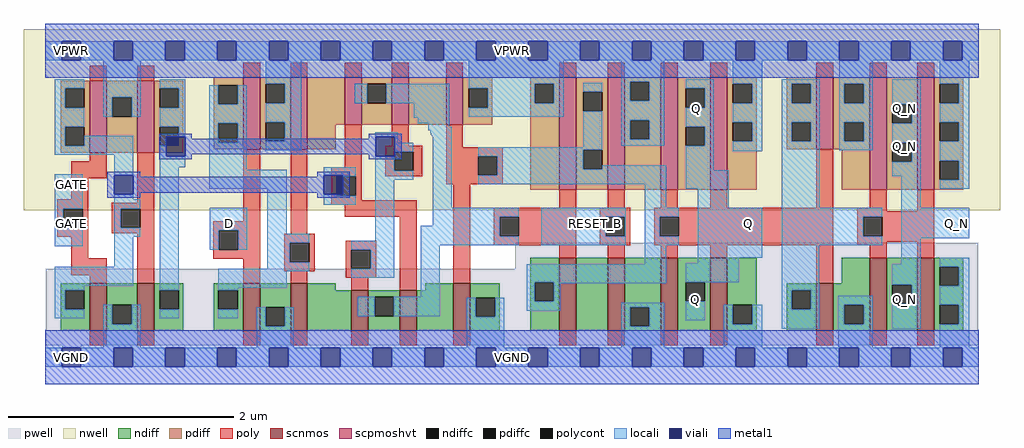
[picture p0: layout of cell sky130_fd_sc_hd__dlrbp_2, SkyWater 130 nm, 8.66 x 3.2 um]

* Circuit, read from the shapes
.subckt sky130_fd_sc_hd__dlrbp_2 D GATE RESET_B VGND VNB VPB VPWR Q Q_N
XM1 VGND GATE n1 VNB sky130_fd_pr__nfet_01v8 w=0.42 l=0.15
XM2 n2 n1 VGND VNB sky130_fd_pr__nfet_01v8 w=0.42 l=0.15
XM3 VGND D n3 VNB sky130_fd_pr__nfet_01v8 w=0.42 l=0.15
XM4 n4 n3 VGND VNB sky130_fd_pr__nfet_01v8 w=0.42 l=0.15
XM5 n5 n2 n4 VNB sky130_fd_pr__nfet_01v8 w=0.36 l=0.15
XM6 n6 n1 n5 VNB sky130_fd_pr__nfet_01v8 w=0.36 l=0.15
XM7 VGND n7 n6 VNB sky130_fd_pr__nfet_01v8 w=0.42 l=0.15
XM8 n8 n5 n7 VNB sky130_fd_pr__nfet_01v8 w=0.65 l=0.15
XM9 VGND RESET_B n8 VNB sky130_fd_pr__nfet_01v8 w=0.65 l=0.15
XM10 Q n7 VGND VNB sky130_fd_pr__nfet_01v8 w=0.65 l=0.15 m=2
XM11 VGND n7 n9 VNB sky130_fd_pr__nfet_01v8 w=0.42 l=0.15
XM12 Q_N n9 VGND VNB sky130_fd_pr__nfet_01v8 w=0.65 l=0.15 m=2
XM13 VPWR GATE n1 VPB sky130_fd_pr__pfet_01v8_hvt w=0.64 l=0.15
XM14 n2 n1 VPWR VPB sky130_fd_pr__pfet_01v8_hvt w=0.64 l=0.15
XM15 VPWR D n3 VPB sky130_fd_pr__pfet_01v8_hvt w=0.64 l=0.15
XM16 n10 n3 VPWR VPB sky130_fd_pr__pfet_01v8_hvt w=0.64 l=0.15
XM17 n5 n1 n10 VPB sky130_fd_pr__pfet_01v8_hvt w=0.42 l=0.15
XM18 n11 n2 n5 VPB sky130_fd_pr__pfet_01v8_hvt w=0.42 l=0.15
XM19 VPWR n7 n11 VPB sky130_fd_pr__pfet_01v8_hvt w=0.42 l=0.15
XM20 n7 n5 VPWR VPB sky130_fd_pr__pfet_01v8_hvt w=1 l=0.15
XM21 VPWR RESET_B n7 VPB sky130_fd_pr__pfet_01v8_hvt w=1 l=0.15
XM22 Q n7 VPWR VPB sky130_fd_pr__pfet_01v8_hvt w=1 l=0.15 m=2
XM23 VPWR n7 n9 VPB sky130_fd_pr__pfet_01v8_hvt w=0.64 l=0.15
XM24 Q_N n9 VPWR VPB sky130_fd_pr__pfet_01v8_hvt w=1 l=0.15 m=2
.ends

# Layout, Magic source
magic
tech sky130B
magscale 1 2
<< nwell >>
rect -38 261 1694 582
<< pwell >>
rect 834 157 1655 203
rect 1 21 1655 157
rect 30 -17 64 21
<< scnmos >>
rect 79 47 109 131
rect 163 47 193 131
rect 351 47 381 131
rect 435 47 465 131
rect 543 47 573 119
rect 629 47 659 119
rect 724 47 754 131
rect 912 47 942 177
rect 998 47 1028 177
rect 1092 47 1122 177
rect 1180 47 1210 177
rect 1368 47 1398 131
rect 1463 47 1493 177
rect 1547 47 1577 177
<< scpmoshvt >>
rect 79 363 109 491
rect 163 363 193 491
rect 351 369 381 497
rect 435 369 465 497
rect 531 413 561 497
rect 615 413 645 497
rect 711 413 741 497
rect 912 297 942 497
rect 998 297 1028 497
rect 1092 297 1122 497
rect 1180 297 1210 497
rect 1368 369 1398 497
rect 1463 297 1493 497
rect 1547 297 1577 497
<< ndiff >>
rect 27 119 79 131
rect 27 85 35 119
rect 69 85 79 119
rect 27 47 79 85
rect 109 93 163 131
rect 109 59 119 93
rect 153 59 163 93
rect 109 47 163 59
rect 193 119 245 131
rect 193 85 203 119
rect 237 85 245 119
rect 193 47 245 85
rect 299 119 351 131
rect 299 85 307 119
rect 341 85 351 119
rect 299 47 351 85
rect 381 89 435 131
rect 381 55 391 89
rect 425 55 435 89
rect 381 47 435 55
rect 465 119 515 131
rect 860 133 912 177
rect 674 119 724 131
rect 465 47 543 119
rect 573 107 629 119
rect 573 73 584 107
rect 618 73 629 107
rect 573 47 629 73
rect 659 47 724 119
rect 754 106 806 131
rect 754 72 764 106
rect 798 72 806 106
rect 754 47 806 72
rect 860 99 868 133
rect 902 99 912 133
rect 860 47 912 99
rect 942 47 998 177
rect 1028 89 1092 177
rect 1028 55 1038 89
rect 1072 55 1092 89
rect 1028 47 1092 55
rect 1122 133 1180 177
rect 1122 99 1136 133
rect 1170 99 1180 133
rect 1122 47 1180 99
rect 1210 93 1262 177
rect 1413 131 1463 177
rect 1210 59 1220 93
rect 1254 59 1262 93
rect 1210 47 1262 59
rect 1316 119 1368 131
rect 1316 85 1324 119
rect 1358 85 1368 119
rect 1316 47 1368 85
rect 1398 93 1463 131
rect 1398 59 1418 93
rect 1452 59 1463 93
rect 1398 47 1463 59
rect 1493 129 1547 177
rect 1493 95 1503 129
rect 1537 95 1547 129
rect 1493 47 1547 95
rect 1577 161 1629 177
rect 1577 127 1587 161
rect 1621 127 1629 161
rect 1577 93 1629 127
rect 1577 59 1587 93
rect 1621 59 1629 93
rect 1577 47 1629 59
<< pdiff >>
rect 27 477 79 491
rect 27 443 35 477
rect 69 443 79 477
rect 27 409 79 443
rect 27 375 35 409
rect 69 375 79 409
rect 27 363 79 375
rect 109 461 163 491
rect 109 427 119 461
rect 153 427 163 461
rect 109 363 163 427
rect 193 477 245 491
rect 193 443 203 477
rect 237 443 245 477
rect 193 409 245 443
rect 193 375 203 409
rect 237 375 245 409
rect 193 363 245 375
rect 299 483 351 497
rect 299 449 307 483
rect 341 449 351 483
rect 299 415 351 449
rect 299 381 307 415
rect 341 381 351 415
rect 299 369 351 381
rect 381 485 435 497
rect 381 451 391 485
rect 425 451 435 485
rect 381 417 435 451
rect 381 383 391 417
rect 425 383 435 417
rect 381 369 435 383
rect 465 413 531 497
rect 561 485 615 497
rect 561 451 571 485
rect 605 451 615 485
rect 561 413 615 451
rect 645 413 711 497
rect 741 477 793 497
rect 741 443 751 477
rect 785 443 793 477
rect 741 413 793 443
rect 860 485 912 497
rect 860 451 868 485
rect 902 451 912 485
rect 465 369 515 413
rect 860 297 912 451
rect 942 471 998 497
rect 942 437 954 471
rect 988 437 998 471
rect 942 368 998 437
rect 942 334 954 368
rect 988 334 998 368
rect 942 297 998 334
rect 1028 489 1092 497
rect 1028 455 1038 489
rect 1072 455 1092 489
rect 1028 421 1092 455
rect 1028 387 1038 421
rect 1072 387 1092 421
rect 1028 297 1092 387
rect 1122 477 1180 497
rect 1122 443 1136 477
rect 1170 443 1180 477
rect 1122 409 1180 443
rect 1122 375 1136 409
rect 1170 375 1180 409
rect 1122 297 1180 375
rect 1210 485 1262 497
rect 1210 451 1220 485
rect 1254 451 1262 485
rect 1210 417 1262 451
rect 1210 383 1220 417
rect 1254 383 1262 417
rect 1210 297 1262 383
rect 1316 485 1368 497
rect 1316 451 1324 485
rect 1358 451 1368 485
rect 1316 417 1368 451
rect 1316 383 1324 417
rect 1358 383 1368 417
rect 1316 369 1368 383
rect 1398 485 1463 497
rect 1398 451 1418 485
rect 1452 451 1463 485
rect 1398 417 1463 451
rect 1398 383 1418 417
rect 1452 383 1463 417
rect 1398 369 1463 383
rect 1413 297 1463 369
rect 1493 449 1547 497
rect 1493 415 1503 449
rect 1537 415 1547 449
rect 1493 381 1547 415
rect 1493 347 1503 381
rect 1537 347 1547 381
rect 1493 297 1547 347
rect 1577 485 1629 497
rect 1577 451 1587 485
rect 1621 451 1629 485
rect 1577 417 1629 451
rect 1577 383 1587 417
rect 1621 383 1629 417
rect 1577 349 1629 383
rect 1577 315 1587 349
rect 1621 315 1629 349
rect 1577 297 1629 315
<< ndiffc >>
rect 35 85 69 119
rect 119 59 153 93
rect 203 85 237 119
rect 307 85 341 119
rect 391 55 425 89
rect 584 73 618 107
rect 764 72 798 106
rect 868 99 902 133
rect 1038 55 1072 89
rect 1136 99 1170 133
rect 1220 59 1254 93
rect 1324 85 1358 119
rect 1418 59 1452 93
rect 1503 95 1537 129
rect 1587 127 1621 161
rect 1587 59 1621 93
<< pdiffc >>
rect 35 443 69 477
rect 35 375 69 409
rect 119 427 153 461
rect 203 443 237 477
rect 203 375 237 409
rect 307 449 341 483
rect 307 381 341 415
rect 391 451 425 485
rect 391 383 425 417
rect 571 451 605 485
rect 751 443 785 477
rect 868 451 902 485
rect 954 437 988 471
rect 954 334 988 368
rect 1038 455 1072 489
rect 1038 387 1072 421
rect 1136 443 1170 477
rect 1136 375 1170 409
rect 1220 451 1254 485
rect 1220 383 1254 417
rect 1324 451 1358 485
rect 1324 383 1358 417
rect 1418 451 1452 485
rect 1418 383 1452 417
rect 1503 415 1537 449
rect 1503 347 1537 381
rect 1587 451 1621 485
rect 1587 383 1621 417
rect 1587 315 1621 349
<< poly >>
rect 79 491 109 517
rect 163 491 193 517
rect 351 497 381 523
rect 435 497 465 523
rect 531 497 561 523
rect 615 497 645 523
rect 711 497 741 523
rect 912 497 942 523
rect 998 497 1028 523
rect 1092 497 1122 523
rect 1180 497 1210 523
rect 1368 497 1398 523
rect 1463 497 1493 523
rect 1547 497 1577 523
rect 79 348 109 363
rect 46 318 109 348
rect 46 280 76 318
rect 21 264 76 280
rect 163 274 193 363
rect 21 230 32 264
rect 66 230 76 264
rect 21 214 76 230
rect 118 264 193 274
rect 118 230 134 264
rect 168 230 193 264
rect 351 241 381 369
rect 118 220 193 230
rect 46 176 76 214
rect 46 146 109 176
rect 79 131 109 146
rect 163 131 193 220
rect 298 225 381 241
rect 298 191 308 225
rect 342 191 381 225
rect 435 219 465 369
rect 531 337 561 413
rect 615 375 645 413
rect 507 321 561 337
rect 603 365 669 375
rect 603 331 619 365
rect 653 331 669 365
rect 603 321 669 331
rect 711 373 741 413
rect 711 357 812 373
rect 711 323 768 357
rect 802 323 812 357
rect 507 287 517 321
rect 551 287 561 321
rect 711 307 812 323
rect 507 279 561 287
rect 507 271 659 279
rect 531 249 659 271
rect 298 175 381 191
rect 351 131 381 175
rect 424 203 478 219
rect 424 169 434 203
rect 468 169 478 203
rect 424 153 478 169
rect 533 191 587 207
rect 533 157 543 191
rect 577 157 587 191
rect 435 131 465 153
rect 533 141 587 157
rect 543 119 573 141
rect 629 119 659 249
rect 724 131 754 307
rect 912 265 942 297
rect 998 265 1028 297
rect 1092 265 1122 297
rect 1180 265 1210 297
rect 1368 265 1398 369
rect 1463 265 1493 297
rect 796 249 942 265
rect 796 215 806 249
rect 840 215 942 249
rect 796 199 942 215
rect 984 249 1038 265
rect 984 215 994 249
rect 1028 215 1038 249
rect 984 199 1038 215
rect 1080 249 1398 265
rect 1080 215 1090 249
rect 1124 215 1398 249
rect 1080 199 1398 215
rect 1441 259 1493 265
rect 1547 259 1577 297
rect 1441 249 1577 259
rect 1441 215 1451 249
rect 1485 215 1577 249
rect 1441 205 1577 215
rect 1441 199 1493 205
rect 912 177 942 199
rect 998 177 1028 199
rect 1092 177 1122 199
rect 1180 177 1210 199
rect 1368 131 1398 199
rect 1463 177 1493 199
rect 1547 177 1577 205
rect 79 21 109 47
rect 163 21 193 47
rect 351 21 381 47
rect 435 21 465 47
rect 543 21 573 47
rect 629 21 659 47
rect 724 21 754 47
rect 912 21 942 47
rect 998 21 1028 47
rect 1092 21 1122 47
rect 1180 21 1210 47
rect 1368 21 1398 47
rect 1463 21 1493 47
rect 1547 21 1577 47
<< polycont >>
rect 32 230 66 264
rect 134 230 168 264
rect 308 191 342 225
rect 619 331 653 365
rect 768 323 802 357
rect 517 287 551 321
rect 434 169 468 203
rect 543 157 577 191
rect 806 215 840 249
rect 994 215 1028 249
rect 1090 215 1124 249
rect 1451 215 1485 249
<< locali >>
rect 0 527 29 561
rect 63 527 121 561
rect 155 527 213 561
rect 247 527 305 561
rect 339 527 397 561
rect 431 527 489 561
rect 523 527 581 561
rect 615 527 673 561
rect 707 527 765 561
rect 799 527 857 561
rect 891 527 949 561
rect 983 527 1041 561
rect 1075 527 1133 561
rect 1167 527 1225 561
rect 1259 527 1317 561
rect 1351 527 1409 561
rect 1443 527 1501 561
rect 1535 527 1593 561
rect 1627 527 1656 561
rect 17 477 69 493
rect 17 443 35 477
rect 17 409 69 443
rect 103 461 169 527
rect 103 427 119 461
rect 153 427 169 461
rect 203 477 248 493
rect 391 485 454 527
rect 751 485 920 527
rect 1022 489 1098 527
rect 237 443 248 477
rect 17 375 35 409
rect 203 409 248 443
rect 69 375 156 393
rect 17 359 156 375
rect 17 264 66 325
rect 17 230 32 264
rect 17 197 66 230
rect 122 323 156 359
rect 122 280 156 289
rect 237 391 248 409
rect 203 357 214 375
rect 203 337 248 357
rect 291 449 307 483
rect 341 449 357 483
rect 291 415 357 449
rect 291 381 307 415
rect 341 381 357 415
rect 122 264 168 280
rect 122 230 134 264
rect 122 214 168 230
rect 122 161 156 214
rect 17 127 156 161
rect 17 119 69 127
rect 17 85 35 119
rect 203 119 237 337
rect 291 333 357 381
rect 425 451 454 485
rect 549 451 571 485
rect 605 451 717 485
rect 391 417 454 451
rect 654 425 717 451
rect 751 477 868 485
rect 785 451 868 477
rect 902 451 920 485
rect 785 443 920 451
rect 751 427 920 443
rect 954 471 988 487
rect 425 383 454 417
rect 661 415 717 425
rect 679 409 717 415
rect 679 403 721 409
rect 391 367 454 383
rect 585 391 625 399
rect 683 398 721 403
rect 684 395 721 398
rect 686 392 721 395
rect 585 357 586 391
rect 620 381 625 391
rect 620 365 653 381
rect 291 299 428 333
rect 292 225 358 265
rect 292 191 308 225
rect 342 191 358 225
rect 394 219 428 299
rect 494 323 551 337
rect 528 321 551 323
rect 494 287 517 289
rect 494 271 551 287
rect 585 331 619 357
rect 585 315 653 331
rect 394 203 468 219
rect 585 207 619 315
rect 687 265 721 392
rect 954 373 988 437
rect 1022 455 1038 489
rect 1072 455 1098 489
rect 1022 421 1098 455
rect 1022 387 1038 421
rect 1072 387 1098 421
rect 1022 375 1098 387
rect 1136 477 1186 493
rect 1170 443 1186 477
rect 1136 409 1186 443
rect 1170 375 1186 409
rect 768 368 988 373
rect 768 357 954 368
rect 802 334 954 357
rect 988 334 1102 341
rect 802 323 1102 334
rect 768 307 1102 323
rect 1064 265 1102 307
rect 1136 332 1186 375
rect 1220 485 1272 527
rect 1254 451 1272 485
rect 1220 417 1272 451
rect 1254 383 1272 417
rect 1220 366 1272 383
rect 1307 485 1374 493
rect 1307 451 1324 485
rect 1358 451 1374 485
rect 1307 417 1374 451
rect 1307 383 1324 417
rect 1358 383 1374 417
rect 1136 299 1213 332
rect 1158 265 1213 299
rect 1307 265 1374 383
rect 1409 485 1468 527
rect 1409 451 1418 485
rect 1452 451 1468 485
rect 1409 417 1468 451
rect 1409 383 1418 417
rect 1452 383 1468 417
rect 1409 367 1468 383
rect 1503 449 1553 493
rect 1537 415 1553 449
rect 1503 381 1553 415
rect 1537 347 1553 381
rect 1503 321 1553 347
rect 1519 265 1553 321
rect 1587 485 1639 527
rect 1621 451 1639 485
rect 1587 417 1639 451
rect 1621 383 1639 417
rect 1587 349 1639 383
rect 1621 315 1639 349
rect 1587 299 1639 315
rect 687 249 840 265
rect 687 233 806 249
rect 394 169 434 203
rect 394 157 468 169
rect 17 69 69 85
rect 103 59 119 93
rect 153 59 169 93
rect 203 69 237 85
rect 307 153 468 157
rect 543 191 619 207
rect 577 157 619 191
rect 307 123 428 153
rect 543 141 619 157
rect 666 215 806 233
rect 666 199 840 215
rect 880 249 1030 265
rect 880 215 994 249
rect 1028 215 1030 249
rect 880 199 1030 215
rect 1064 249 1124 265
rect 1064 215 1090 249
rect 1064 199 1124 215
rect 307 119 341 123
rect 666 107 700 199
rect 1064 165 1102 199
rect 1158 177 1272 265
rect 1307 249 1485 265
rect 1307 215 1451 249
rect 1307 199 1485 215
rect 1519 211 1639 265
rect 1158 167 1230 177
rect 307 69 341 85
rect 103 17 169 59
rect 375 55 391 89
rect 425 55 441 89
rect 554 73 584 107
rect 618 73 700 107
rect 854 133 1102 165
rect 375 17 441 55
rect 748 72 764 106
rect 798 72 814 106
rect 854 99 868 133
rect 902 131 1102 133
rect 1136 133 1230 167
rect 902 99 914 131
rect 854 83 914 99
rect 1022 89 1098 97
rect 748 17 814 72
rect 1022 55 1038 89
rect 1072 55 1098 89
rect 1136 66 1170 99
rect 1307 119 1373 199
rect 1519 165 1553 211
rect 1022 17 1098 55
rect 1204 59 1220 93
rect 1254 59 1272 93
rect 1204 17 1272 59
rect 1307 85 1324 119
rect 1358 85 1373 119
rect 1503 129 1553 165
rect 1307 51 1373 85
rect 1407 93 1468 109
rect 1407 59 1418 93
rect 1452 59 1468 93
rect 1407 17 1468 59
rect 1537 95 1553 129
rect 1503 51 1553 95
rect 1587 161 1639 177
rect 1621 127 1639 161
rect 1587 93 1639 127
rect 1621 59 1639 93
rect 1587 17 1639 59
rect 0 -17 29 17
rect 63 -17 121 17
rect 155 -17 213 17
rect 247 -17 305 17
rect 339 -17 397 17
rect 431 -17 489 17
rect 523 -17 581 17
rect 615 -17 673 17
rect 707 -17 765 17
rect 799 -17 857 17
rect 891 -17 949 17
rect 983 -17 1041 17
rect 1075 -17 1133 17
rect 1167 -17 1225 17
rect 1259 -17 1317 17
rect 1351 -17 1409 17
rect 1443 -17 1501 17
rect 1535 -17 1593 17
rect 1627 -17 1656 17
<< viali >>
rect 29 527 63 561
rect 121 527 155 561
rect 213 527 247 561
rect 305 527 339 561
rect 397 527 431 561
rect 489 527 523 561
rect 581 527 615 561
rect 673 527 707 561
rect 765 527 799 561
rect 857 527 891 561
rect 949 527 983 561
rect 1041 527 1075 561
rect 1133 527 1167 561
rect 1225 527 1259 561
rect 1317 527 1351 561
rect 1409 527 1443 561
rect 1501 527 1535 561
rect 1593 527 1627 561
rect 122 289 156 323
rect 214 375 237 391
rect 237 375 248 391
rect 214 357 248 375
rect 586 365 620 391
rect 586 357 619 365
rect 619 357 620 365
rect 494 321 528 323
rect 494 289 517 321
rect 517 289 528 321
rect 29 -17 63 17
rect 121 -17 155 17
rect 213 -17 247 17
rect 305 -17 339 17
rect 397 -17 431 17
rect 489 -17 523 17
rect 581 -17 615 17
rect 673 -17 707 17
rect 765 -17 799 17
rect 857 -17 891 17
rect 949 -17 983 17
rect 1041 -17 1075 17
rect 1133 -17 1167 17
rect 1225 -17 1259 17
rect 1317 -17 1351 17
rect 1409 -17 1443 17
rect 1501 -17 1535 17
rect 1593 -17 1627 17
<< metal1 >>
rect 0 561 1656 592
rect 0 527 29 561
rect 63 527 121 561
rect 155 527 213 561
rect 247 527 305 561
rect 339 527 397 561
rect 431 527 489 561
rect 523 527 581 561
rect 615 527 673 561
rect 707 527 765 561
rect 799 527 857 561
rect 891 527 949 561
rect 983 527 1041 561
rect 1075 527 1133 561
rect 1167 527 1225 561
rect 1259 527 1317 561
rect 1351 527 1409 561
rect 1443 527 1501 561
rect 1535 527 1593 561
rect 1627 527 1656 561
rect 0 496 1656 527
rect 202 391 260 397
rect 202 357 214 391
rect 248 388 260 391
rect 574 391 632 397
rect 574 388 586 391
rect 248 360 586 388
rect 248 357 260 360
rect 202 351 260 357
rect 574 357 586 360
rect 620 357 632 391
rect 574 351 632 357
rect 110 323 168 329
rect 110 289 122 323
rect 156 320 168 323
rect 482 323 540 329
rect 482 320 494 323
rect 156 292 494 320
rect 156 289 168 292
rect 110 283 168 289
rect 482 289 494 292
rect 528 289 540 323
rect 482 283 540 289
rect 0 17 1656 48
rect 0 -17 29 17
rect 63 -17 121 17
rect 155 -17 213 17
rect 247 -17 305 17
rect 339 -17 397 17
rect 431 -17 489 17
rect 523 -17 581 17
rect 615 -17 673 17
rect 707 -17 765 17
rect 799 -17 857 17
rect 891 -17 949 17
rect 983 -17 1041 17
rect 1075 -17 1133 17
rect 1167 -17 1225 17
rect 1259 -17 1317 17
rect 1351 -17 1409 17
rect 1443 -17 1501 17
rect 1535 -17 1593 17
rect 1627 -17 1656 17
rect 0 -48 1656 -17
<< labels >>
flabel locali s 1138 425 1172 459 0 FreeSans 200 0 0 0 Q
port 8 nsew signal output
flabel locali s 1136 85 1170 119 0 FreeSans 200 0 0 0 Q
port 8 nsew signal output
flabel locali s 1230 221 1264 255 0 FreeSans 200 0 0 0 Q
port 8 nsew signal output
flabel locali s 960 221 994 255 0 FreeSans 200 0 0 0 RESET_B
port 3 nsew signal input
flabel locali s 1599 221 1633 255 0 FreeSans 400 0 0 0 Q_N
port 9 nsew signal output
flabel locali s 1507 425 1541 459 0 FreeSans 400 0 0 0 Q_N
port 9 nsew signal output
flabel locali s 1507 357 1541 391 0 FreeSans 400 0 0 0 Q_N
port 9 nsew signal output
flabel locali s 1507 85 1541 119 0 FreeSans 400 0 0 0 Q_N
port 9 nsew signal output
flabel locali s 310 221 344 255 0 FreeSans 200 0 0 0 D
port 1 nsew signal input
flabel locali s 30 221 64 255 0 FreeSans 200 0 0 0 GATE
port 2 nsew clock input
flabel locali s 30 289 64 323 0 FreeSans 200 0 0 0 GATE
port 2 nsew clock input
flabel metal1 s 30 -17 64 17 0 FreeSans 200 0 0 0 VGND
port 4 nsew ground bidirectional abutment
flabel metal1 s 30 527 64 561 0 FreeSans 200 0 0 0 VPWR
port 7 nsew power bidirectional abutment
flabel nwell s 30 527 64 561 0 FreeSans 200 0 0 0 VPB
port 6 nsew power bidirectional
flabel nwell s 47 544 47 544 0 FreeSans 200 0 0 0 VPB
flabel pwell s 30 -17 64 17 0 FreeSans 200 0 0 0 VNB
port 5 nsew ground bidirectional
flabel pwell s 47 0 47 0 0 FreeSans 200 0 0 0 VNB
rlabel comment s 0 0 0 0 4 dlrbp_2
rlabel metal1 s 0 -48 1656 48 1 VGND
port 4 nsew ground bidirectional abutment
rlabel metal1 s 0 496 1656 592 1 VPWR
port 7 nsew power bidirectional abutment
<< properties >>
string FIXED_BBOX 0 0 1656 544
string GDS_END 2747906
string GDS_FILE $PDKPATH/libs.ref/sky130_fd_sc_hd/gds/sky130_fd_sc_hd.gds
string GDS_START 2733064
string LEFclass CORE
string LEFsite unithd
string LEFsymmetry X Y R90
string path 0.000 0.000 41.400 0.000 
<< end >>
